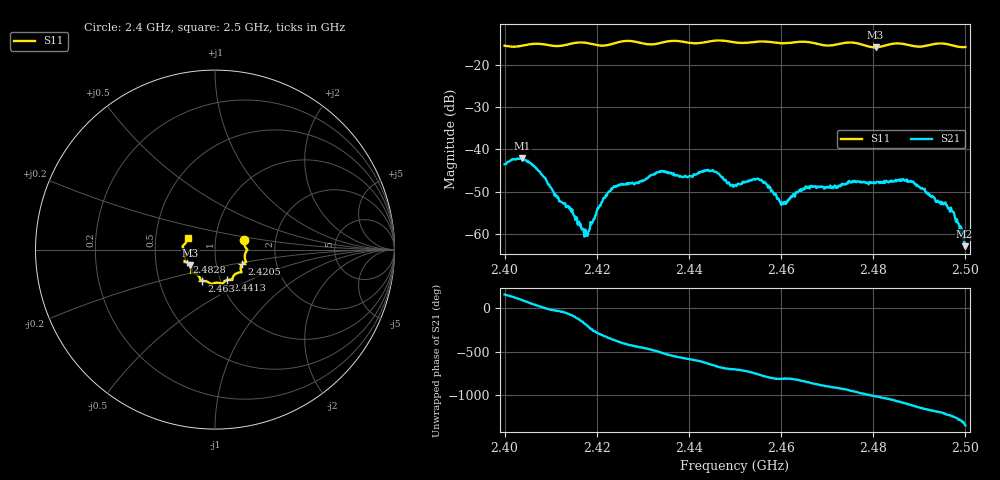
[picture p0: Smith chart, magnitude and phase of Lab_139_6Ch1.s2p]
# Hz S RI R 50
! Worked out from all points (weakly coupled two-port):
!   601 points, 2.4 GHz to 2.5 GHz, reference 50 ohm
!   highest |S21| = -42.14 dB at 2.4038 GHz (marker M1); lowest = -63.0 dB at 2.4998 GHz (marker M2)
!   lowest |S11| = -15.7 dB at 2.4805 GHz (marker M3), VSWR 1.39, Z = 37.4 - j6.69 ohm
!   |S11| at or under -10 dB: start of sweep to end of sweep
!   S12 and S22 are empty: the file has one direction only
!   S11 on the Smith chart (normalised r, x): 2.4 GHz: 1.38, +0.15; 2.4205 GHz: 1.34, -0.22; 2.4413 GHz: 1.08, -0.38; 2.463 GHz: 0.82, -0.29; 2.4828 GHz: 0.72, -0.10; 2.5 GHz: 0.73, +0.10
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2.4e9  0.1628 0.0527  -0.00604 0.00282  0 0  0 0
2.403833e9  0.1706 0.0112  -3.61e-05 0.00782  0 0  0 0
2.416667e9  0.1736 -0.0696  -0.000985 -0.000585  0 0  0 0
2.417833e9  0.1701 -0.071  -0.000902 0.000265  0 0  0 0
2.4205e9  0.1521 -0.0809  0.000862 0.00188  0 0  0 0
2.424e9  0.1438 -0.1143  0.0036 -0.00071  0 0  0 0
2.433333e9  0.1003 -0.1514  -0.00397 -0.0036  0 0  0 0
2.441333e9  0.0675 -0.1696  -0.00273 0.00419  0 0  0 0
2.4455e9  0.0425 -0.1913  0.00241 0.00489  0 0  0 0
2.45e9  0.0247 -0.1857  0.00358 0.00116  0 0  0 0
2.455333e9  -0.0179 -0.1909  0.00315 -0.00298  0 0  0 0
2.4605e9  -0.0511 -0.1757  3.34e-05 -0.00224  0 0  0 0
2.463e9  -0.0721 -0.1735  -0.000295 -0.00273  0 0  0 0
2.466667e9  -0.0815 -0.1673  -0.00283 -0.00236  0 0  0 0
2.4805e9  -0.1381 -0.0871  0.00141 0.00373  0 0  0 0
2.482833e9  -0.1585 -0.07  0.00298 0.00302  0 0  0 0
2.483333e9  -0.1623 -0.0683  0.00314 0.00258  0 0  0 0
2.488333e9  -0.1654 -0.0437  0.0034 -0.00233  0 0  0 0
2.4955e9  -0.1795 0.0205  -0.00136 -0.00184  0 0  0 0
2.497333e9  -0.1688 0.0313  -0.00174 -0.000526  0 0  0 0
2.499833e9  -0.1528 0.0616  -0.000259 0.000659  0 0  0 0
2.5e9  -0.1521 0.064  -7.43e-05 0.000723  0 0  0 0
